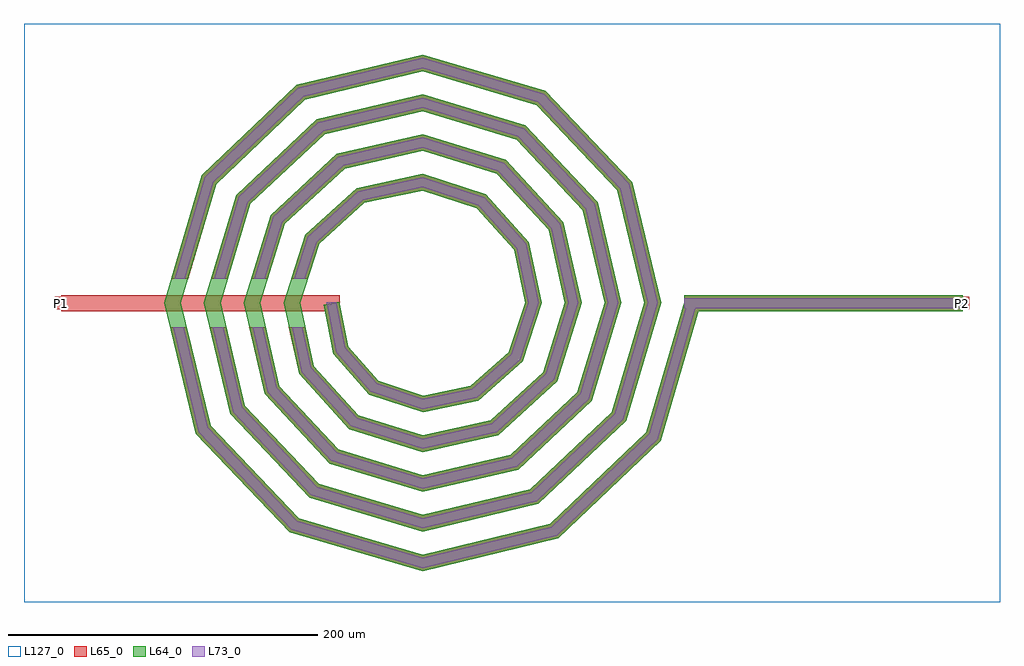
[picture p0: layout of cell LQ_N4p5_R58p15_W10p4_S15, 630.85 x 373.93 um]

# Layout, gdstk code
import gdstk
lib = gdstk.Library(unit=1e-6, precision=1e-09)
def R(c, l, rs):  # rectangles x0, y0, x1, y1
    for r in rs: c.add(gdstk.rectangle(r[:2], r[2:], *l))
def P(c, l, *ps):  # polygons
    for p in ps: c.add(gdstk.Polygon(p, *l))
L64_0 = (64, 0)
L65_0 = (65, 0)
L73_0 = (73, 0)
L127_0 = (127, 0)

lq_n4p5_r58p15_w10p4_s15 = lib.new_cell('LQ_N4p5_R58p15_W10p4_S15')
R(lq_n4p5_r58p15_w10p4_s15, L64_0, [(169.23,-5.2,349.23,5.2)])
P(lq_n4p5_r58p15_w10p4_s15, L64_0, [(-47.962,-28.098),(-28.568,-50.162),(0.329,-59.866),(31.279,-53.54),(55.707,-31.806),(66.287,0.3),(59.115,34.466),(35.039,61.255),(0.275,72.709),(-37.657,64.688),(-66.806,38.269),(-79.131,0.254),(-70.259,-40.851),(-41.497,-72.358),(0.236,-85.553),(44.047,-75.83),(77.912,-44.722),(91.975,0.221),(81.399,47.245),(47.945,83.467),(0.207,98.398),(-50.445,86.968),(-89.023,51.167),(-104.82,0.195),(-92.535,-53.646),(-54.388,-94.579),(0.184,-111.243),(56.849,-98.103),(100.136,-57.608),(117.666,0.175),(103.67,60.052),(60.827,105.694),(0.166,124.088),(-63.256,109.236),(-111.252,64.046),(-130.511,0.158),(-114.802,-66.461),(-67.264,-116.811),(0.151,-136.934),(69.666,-120.368),(122.37,-70.481),(143.356,0.145),(125.933,72.872),(73.697,127.929),(0.139,149.779),(-76.079,131.498),(-133.488,76.914),(-156.202,0.133),(-137.063,-79.285),(-80.13,-139.048),(0.128,-162.625),(82.492,-142.628),(144.608,-83.345),(169.439,1.461),(179.42,-1.461),(153.805,-88.944),(87.656,-152.077),(0.128,-173.389),(-85.736,-148.24),(-146.517,-84.44),(-166.966,0.133),(-142.675,82.529),(-81.224,140.957),(0.139,160.543),(79.323,137.11),(135.397,78.007),(154.12,0.145),(131.544,-76.116),(74.79,-129.838),(0.151,-147.697),(-72.911,-125.978),(-124.279,-71.573),(-141.274,0.158),(-120.412,69.706),(-68.354,118.72),(0.166,134.851),(66.501,114.846),(113.162,65.136),(128.428,0.175),(109.279,-63.297),(61.916,-107.604),(0.184,-122.004),(-60.094,-103.711),(-102.046,-58.695),(-115.581,0.195),(-98.143,56.892),(-55.474,96.489),(0.207,109.158),(53.692,92.574),(90.933,52.251),(102.735,0.221),(87.004,-50.492),(49.026,-85.378),(0.236,-96.311),(-47.295,-81.433),(-79.823,-45.8),(-89.887,0.254),(-75.86,44.099),(-42.571,74.27),(0.275,83.464),(40.906,70.286),(68.718,39.338),(77.04,0.3),(64.709,-37.717),(36.102,-63.169),(0.329,-70.615),(-34.532,-59.13),(-57.621,-32.861),(-63.919,-1.009),(-53.716,1.009)])
R(lq_n4p5_r58p15_w10p4_s15, L65_0, [(-233.618,-5.2,-53.618,5.2), (169.23,-5.2,349.23,5.2), (-237.618,-4,-229.618,4), (345.23,-4,353.23,4)])
P(lq_n4p5_r58p15_w10p4_s15, L65_0, [(-137.063,-79.285),(-80.13,-139.048),(0.128,-162.625),(82.492,-142.628),(144.608,-83.345),(169.439,1.461),(179.42,-1.461),(153.805,-88.944),(87.656,-152.077),(0.128,-173.389),(-85.736,-148.24),(-146.517,-84.44),(-163.162,-15.6),(-152.462,-15.6)],
  [(-114.802,-66.461),(-67.264,-116.811),(0.151,-136.934),(69.666,-120.368),(122.37,-70.481),(143.357,0.145),(125.933,72.872),(73.698,127.929),(0.139,149.779),(-76.079,131.498),(-133.488,76.914),(-151.564,15.6),(-162.406,15.6),(-142.675,82.529),(-81.224,140.957),(0.139,160.543),(79.323,137.11),(135.397,78.007),(154.12,0.145),(131.544,-76.117),(74.79,-129.838),(0.151,-147.697),(-72.911,-125.978),(-124.279,-71.573),(-137.54,-15.6),(-126.852,-15.6)],
  [(-92.536,-53.646),(-54.388,-94.579),(0.184,-111.243),(56.849,-98.103),(100.136,-57.608),(117.666,0.175),(103.67,60.052),(60.828,105.694),(0.166,124.088),(-63.256,109.236),(-111.252,64.046),(-125.784,15.6),(-136.642,15.6),(-120.412,69.706),(-68.354,118.72),(0.166,134.851),(66.501,114.846),(113.162,65.136),(128.428,0.175),(109.279,-63.297),(61.916,-107.604),(0.184,-122.005),(-60.094,-103.711),(-102.046,-58.695),(-111.951,-15.6),(-101.28,-15.6)],
  [(-70.259,-40.851),(-41.497,-72.358),(0.236,-85.553),(44.047,-75.83),(77.912,-44.722),(91.976,0.221),(81.399,47.245),(47.945,83.467),(0.207,98.398),(-50.445,86.968),(-89.023,51.168),(-99.962,15.6),(-110.843,15.6),(-98.143,56.892),(-55.474,96.489),(0.207,109.158),(53.692,92.574),(90.933,52.251),(102.735,0.221),(87.004,-50.492),(49.026,-85.378),(0.236,-96.311),(-47.295,-81.433),(-79.823,-45.8),(-86.423,-15.6),(-75.777,-15.6)],
  [(-28.568,-50.162),(0.329,-59.866),(31.279,-53.54),(55.707,-31.806),(66.287,0.3),(59.115,34.466),(35.039,61.255),(0.275,72.709),(-37.657,64.688),(-66.806,38.269),(-74.059,15.6),(-84.978,15.6),(-75.86,44.099),(-42.571,74.27),(0.275,83.464),(40.906,70.286),(68.718,39.338),(77.04,0.3),(64.709,-37.717),(36.102,-63.169),(0.329,-70.615),(-34.532,-59.13),(-57.622,-32.861),(-63.919,-1.009),(-53.716,1.009),(-47.962,-28.098)])
R(lq_n4p5_r58p15_w10p4_s15, L73_0, [(169.23,-3.2,349.23,3.2)])
P(lq_n4p5_r58p15_w10p4_s15, L73_0, [(-138.881,-80.277),(-81.208,-140.816),(0.079,-164.695),(83.485,-144.445),(146.377,-84.422),(171.359,0.899),(177.501,0.899),(152.037,-87.867),(86.663,-150.26),(0.079,-171.319),(-84.658,-146.473),(-144.699,-83.449),(-161.104,-15.6),(-154.52,-15.6)],
  [(-116.625,-67.444),(-68.35,-118.574),(0.093,-139.004),(70.652,-122.189),(124.134,-71.565),(145.426,0.089),(127.753,73.86),(74.779,129.694),(0.085,151.849),(-77.068,133.317),(-135.255,77.994),(-153.649,15.6),(-160.321,15.6),(-140.909,81.449),(-80.234,139.138),(0.085,158.473),(78.241,135.344),(133.577,77.02),(152.05,0.089),(129.78,-75.033),(73.805,-128.017),(0.093,-145.627),(-71.825,-124.215),(-122.456,-70.59),(-135.485,-15.6),(-128.908,-15.6)],
  [(-94.365,-54.617),(-55.486,-96.335),(0.113,-113.313),(57.823,-99.93),(101.894,-58.702),(119.735,0.108),(105.495,61.03),(61.919,107.454),(0.102,126.158),(-64.237,111.06),(-113.014,65.134),(-127.872,15.6),(-134.554,15.6),(-118.651,68.617),(-67.374,116.896),(0.102,132.781),(65.41,113.086),(111.336,64.158),(126.358,0.108),(107.52,-62.203),(60.942,-105.777),(0.113,-119.935),(-58.997,-101.955),(-100.217,-57.725),(-109.899,-15.6),(-103.332,-15.6)],
  [(-72.099,-41.802),(-42.612,-74.103),(0.146,-87.622),(45.005,-77.666),(79.66,-45.832),(94.045,0.136),(83.233,48.208),(49.05,85.218),(0.128,100.467),(-51.412,88.799),(-90.776,52.268),(-102.055,15.6),(-108.751,15.6),(-96.389,55.791),(-54.507,94.658),(0.128,107.089),(52.587,90.822),(89.1,51.288),(100.666,0.136),(85.255,-49.383),(48.069,-83.542),(0.146,-94.242),(-46.18,-79.688),(-77.984,-44.848),(-84.376,-15.6),(-77.825,-15.6)],
  [(-29.715,-51.886),(0.203,-61.933),(32.207,-55.391),(57.438,-32.942),(68.355,0.185),(60.961,35.403),(36.167,62.992),(0.169,74.777),(-38.602,66.53),(-68.547,39.39),(-76.159,15.6),(-82.878,15.6),(-74.119,42.978),(-41.626,72.427),(0.169,81.396),(39.778,68.549),(66.872,38.401),(74.972,0.185),(62.978,-36.58),(35.175,-61.317),(0.203,-68.548),(-33.385,-57.405),(-55.764,-31.945),(-61.957,0.621),(-55.678,0.621),(-49.82,-29.014)])
R(lq_n4p5_r58p15_w10p4_s15, L127_0, [(-257.618,-193.389,373.23,180.543)])
lq_n4p5_r58p15_w10p4_s15.add(gdstk.Label('P2', (349.23,0), layer=65, texttype=0))
lq_n4p5_r58p15_w10p4_s15.add(gdstk.Label('P1', (-233.618,0), layer=65, texttype=0))
lq_n4p5_r58p15_w10p4_s15.add(gdstk.Label('P2', (353.23,0), layer=145, texttype=0))
lq_n4p5_r58p15_w10p4_s15.add(gdstk.Label('P1', (-237.618,0), layer=145, texttype=0))

lib.write_gds('LQ_N4p5_R58p15_W10p4_S15.gds')
